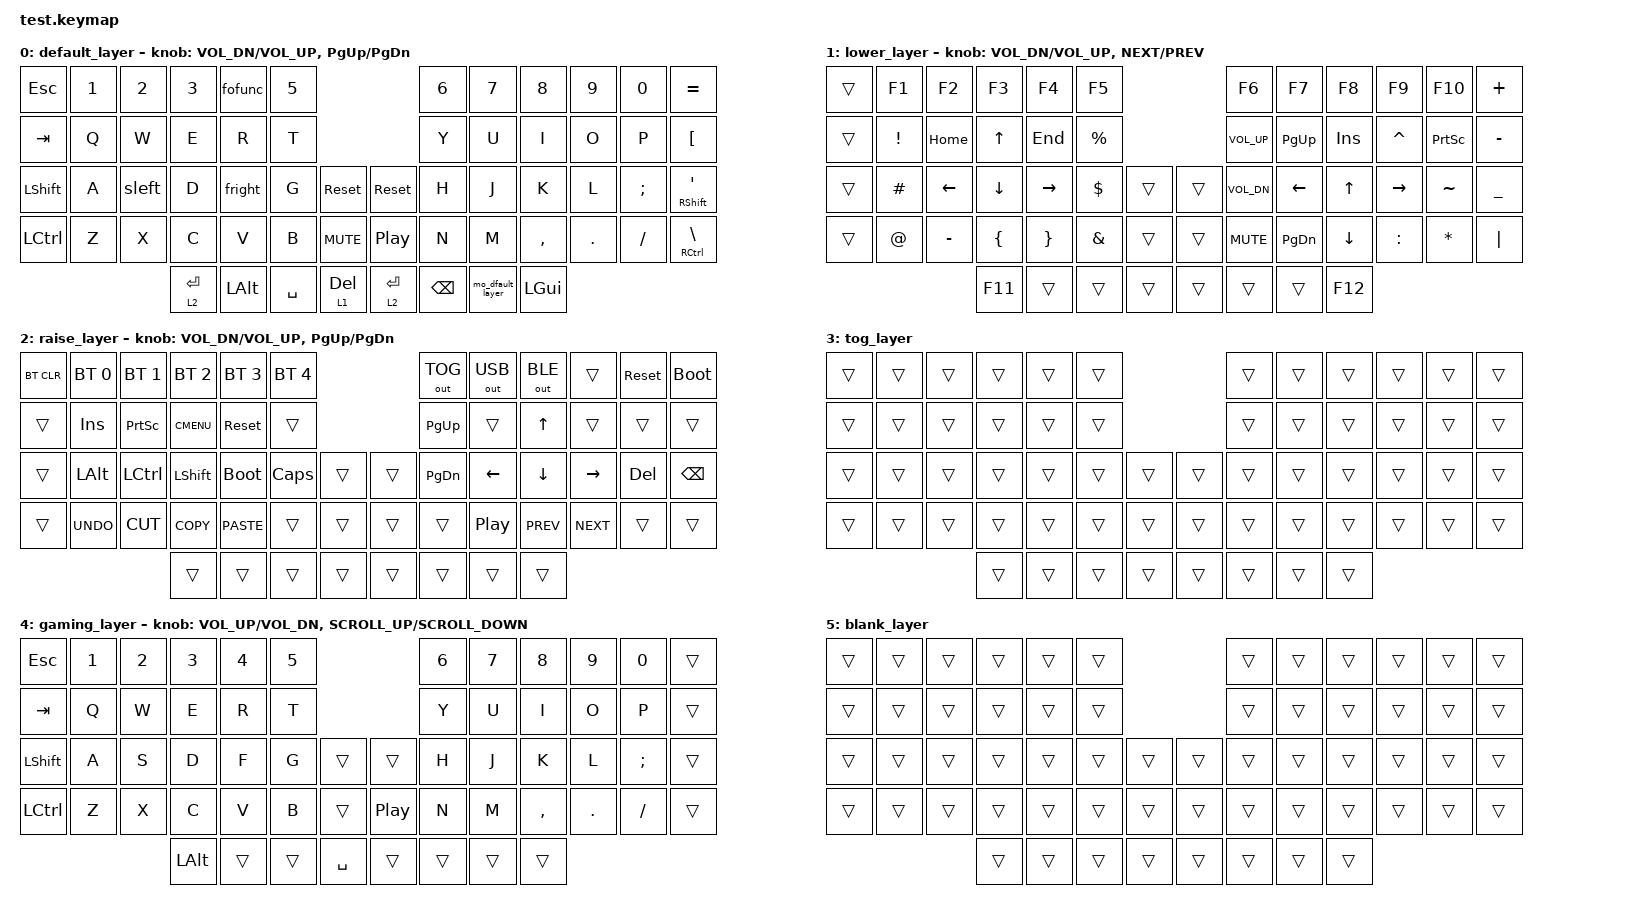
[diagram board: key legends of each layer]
/*
 * Copyright (c) 2022 The ZMK Contributors
 *
 * SPDX-License-Identifier: MIT
 */

#include <behaviors.dtsi>
#include <dt-bindings/zmk/bt.h>
#include <dt-bindings/zmk/keys.h>
#include <dt-bindings/zmk/outputs.h>
#include <dt-bindings/zmk/rgb.h>

/ {
    combos {
        compatible = "zmk,combos";

        combo_dsklg {
            timeout-ms = <100>;
            key-positions = <24 52>;
            layers = <0>;
            bindings = <&kp LGUI>;
        };
    };

    behaviors {
        fofunc: four_ffour {
            compatible = "zmk,behavior-mod-morph";
            #binding-cells = <0>;
            bindings = <&kp N4>, <&kp F4>;

            mods = <(MOD_LALT|MOD_RALT)>;
        };

        sleft: s_left {
            compatible = "zmk,behavior-mod-morph";
            #binding-cells = <0>;
            bindings = <&kp S>, <&kp LEFT>;

            mods = <(MOD_LGUI|MOD_RGUI)>;
        };

        fright: f_right {
            compatible = "zmk,behavior-mod-morph";
            #binding-cells = <0>;
            bindings = <&kp F>, <&kp RIGHT>;

            mods = <(MOD_LGUI|MOD_RGUI)>;
        };
    };

    macros {
        mo_dfault_layer: dafult_layer {
            compatible = "zmk,behavior-macro";
            #binding-cells = <0>;
            bindings =
                <&macro_press>,
                <&mo 1 &rgb_ug RGB_COLOR_HSB(93,100,28)>,
                <&macro_release>,
                <&rgb_ug RGB_COLOR_HSB(41,100,35)>;

            label = "DAFULT_LAYER";
        };
    };

    keymap {
        compatible = "zmk,keymap";

        default_layer {
            //   ------------------------------------------------------------------------------------------------------------

            bindings = <
&kp ESC    &kp N1  &kp N2  &kp N3     &fofunc   &kp N5                             &kp N6    &kp N7            &kp N8     &kp N9   &kp N0    &kp EQUAL
&kp TAB    &kp Q   &kp W   &kp E      &kp R     &kp T                              &kp Y     &kp U             &kp I      &kp O    &kp P     &kp LBKT
&kp LSHFT  &kp A   &sleft  &kp D      &fright   &kp G      &sys_reset  &sys_reset  &kp H     &kp J             &kp K      &kp L    &kp SEMI  &mt RSHFT SQT
&kp LCTRL  &kp Z   &kp X   &kp C      &kp V     &kp B      &kp C_MUTE  &kp C_PP    &kp N     &kp M             &kp COMMA  &kp DOT  &kp FSLH  &mt RCTRL BSLH
                           &lt 2 RET  &kp LALT  &kp SPACE  &lt 1 DEL   &lt 2 RET   &kp BSPC  &mo_dfault_layer  &kp LGUI
            >;

            sensor-bindings = <&inc_dec_kp C_VOL_DN C_VOL_UP &inc_dec_kp PG_UP PG_DN>;
        };

        lower_layer {
            // ------------------------------------------------------------------------------------------------------------

            bindings = <
&trans  &kp F1    &kp F2     &kp F3    &kp F4     &kp F5                     &kp F6        &kp F7     &kp F8    &kp F9     &kp F10    &kp PLUS
&trans  &kp EXCL  &kp HOME   &kp UP    &kp END    &kp PRCNT                  &kp C_VOL_UP  &kp PG_UP  &kp INS   &kp CARET  &kp PSCRN  &kp MINUS
&trans  &kp HASH  &kp LEFT   &kp DOWN  &kp RIGHT  &kp DLLR   &trans  &trans  &kp C_VOL_DN  &kp LEFT   &kp UP    &kp RIGHT  &kp TILDE  &kp UNDER
&trans  &kp AT    &kp MINUS  &kp LBRC  &kp RBRC   &kp AMPS   &trans  &trans  &kp C_MUTE    &kp PG_DN  &kp DOWN  &kp COLON  &kp STAR   &kp PIPE
                             &kp F11   &trans     &trans     &trans  &trans  &trans        &trans     &kp F12
            >;

            sensor-bindings = <&inc_dec_kp C_VOL_DN C_VOL_UP &inc_dec_kp C_NEXT C_PREV>;
        };

        raise_layer {
            // ------------------------------------------------------------------------------------------------------------

            bindings = <
&bt BT_CLR  &bt BT_SEL 0  &bt BT_SEL 1  &bt BT_SEL 2  &bt BT_SEL 3  &bt BT_SEL 4                  &out OUT_TOG  &out OUT_USB  &out OUT_BLE  &trans      &sys_reset  &bootloader
&trans      &kp INS       &kp PSCRN     &kp K_CMENU   &sys_reset    &trans                        &kp PG_UP     &trans        &kp UP        &trans      &trans      &trans
&trans      &kp LALT      &kp LCTRL     &kp LSHFT     &bootloader   &kp CLCK      &trans  &trans  &kp PG_DN     &kp LEFT      &kp DOWN      &kp RIGHT   &kp DEL     &kp BSPC
&trans      &kp K_UNDO    &kp K_CUT     &kp K_COPY    &kp K_PASTE   &trans        &trans  &trans  &trans        &kp C_PP      &kp C_PREV    &kp C_NEXT  &trans      &trans
                                        &trans        &trans        &trans        &trans  &trans  &trans        &trans        &trans
            >;

            sensor-bindings = <&inc_dec_kp C_VOL_DN C_VOL_UP &inc_dec_kp PG_UP PG_DN>;
        };

        tog_layer {
            bindings = <
&trans  &trans  &trans  &trans  &trans  &trans                  &trans  &trans  &trans  &trans  &trans  &trans
&trans  &trans  &trans  &trans  &trans  &trans                  &trans  &trans  &trans  &trans  &trans  &trans
&trans  &trans  &trans  &trans  &trans  &trans  &trans  &trans  &trans  &trans  &trans  &trans  &trans  &trans
&trans  &trans  &trans  &trans  &trans  &trans  &trans  &trans  &trans  &trans  &trans  &trans  &trans  &trans
                        &trans  &trans  &trans  &trans  &trans  &trans  &trans  &trans
            >;
        };

        gaming_layer {
            bindings = <
&kp ESC    &kp N1  &kp N2  &kp N3    &kp N4  &kp N5                               &kp N6  &kp N7  &kp N8     &kp N9   &kp N0    &trans
&kp TAB    &kp Q   &kp W   &kp E     &kp R   &kp T                                &kp Y   &kp U   &kp I      &kp O    &kp P     &trans
&kp LSHFT  &kp A   &kp S   &kp D     &kp F   &kp G   &trans     &trans            &kp H   &kp J   &kp K      &kp L    &kp SEMI  &trans
&kp LCTRL  &kp Z   &kp X   &kp C     &kp V   &kp B   &trans     &kp C_PLAY_PAUSE  &kp N   &kp M   &kp COMMA  &kp DOT  &kp FSLH  &trans
                           &kp LALT  &trans  &trans  &kp SPACE  &trans            &trans  &trans  &trans
            >;

            sensor-bindings =
                <&inc_dec_kp C_VOLUME_UP C_VOL_DN>,
                <&inc_dec_kp K_SCROLL_UP K_SCROLL_DOWN>;
        };

        blank_layer {
            bindings = <
&trans  &trans  &trans  &trans  &trans  &trans                  &trans  &trans  &trans  &trans  &trans  &trans
&trans  &trans  &trans  &trans  &trans  &trans                  &trans  &trans  &trans  &trans  &trans  &trans
&trans  &trans  &trans  &trans  &trans  &trans  &trans  &trans  &trans  &trans  &trans  &trans  &trans  &trans
&trans  &trans  &trans  &trans  &trans  &trans  &trans  &trans  &trans  &trans  &trans  &trans  &trans  &trans
                        &trans  &trans  &trans  &trans  &trans  &trans  &trans  &trans
            >;
        };
    };
};
